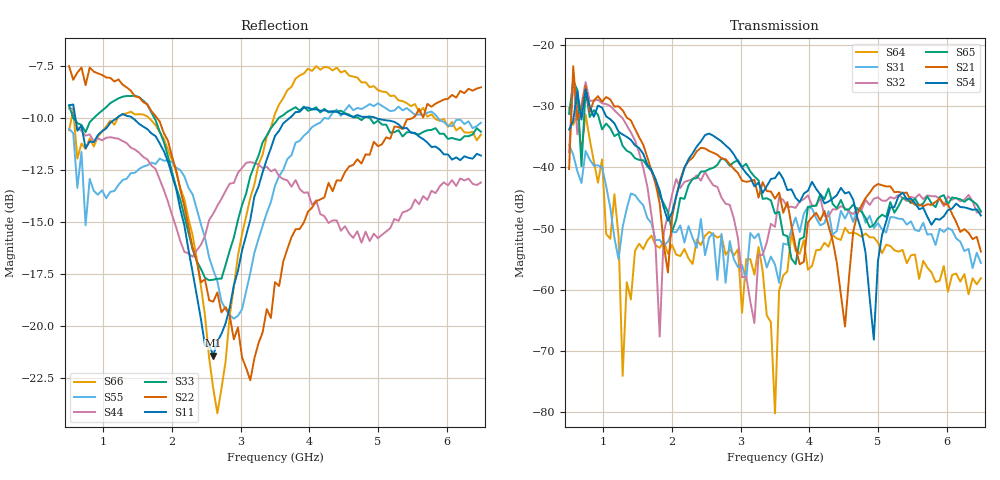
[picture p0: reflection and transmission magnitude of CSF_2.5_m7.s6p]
!Keysight Technologies,M9804A,MY58100912,A.14.10.03
!Date: Thursday, April 27, 2023 10:28:33
!Correction: S11(C  6-Port  )
!S12(C  6-Port  )
!S13(C  6-Port  )
!S14(C  6-Port  )
!S15(C  6-Port  )
!S16(C  6-Port  )
!S21(C  6-Port  )
!S22(C  6-Port  )
!S23(C  6-Port  )
!S24(C  6-Port  )
!S25(C  6-Port  )
!S26(C  6-Port  )
!S31(C  6-Port  )
!S32(C  6-Port  )
!S33(C  6-Port  )
!S34(C  6-Port  )
!S35(C  6-Port  )
!S36(C  6-Port  )
!S41(C  6-Port  )
!S42(C  6-Port  )
!S43(C  6-Port  )
!S44(C  6-Port  )
!S45(C  6-Port  )
!S46(C  6-Port  )
!S51(C  6-Port  )
!S52(C  6-Port  )
!S53(C  6-Port  )
!S54(C  6-Port  )
!S55(C  6-Port  )
!S56(C  6-Port  )
!S61(C  6-Port  )
!S62(C  6-Port  )
!S63(C  6-Port  )
!S64(C  6-Port  )
!S65(C  6-Port  )
!S66(C  6-Port  )
!S6P File: Measurement: :
# Hz S  RI  R 50
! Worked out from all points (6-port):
!   101 points, 500 MHz to 6.5 GHz, reference 50 ohm
!   strongest paths, dB at 500 MHz, 2 GHz, 3.5 GHz, 5 GHz, 6.5 GHz:
!     S54: -33.8, -47.4, -41.7, -55.3, -47.9
!     S21: -40.3, -48.1, -45.1, -42.7, -53.7
!     S65: -31.2, -50.5, -47.5, -48.3, -47.2
!     S32: -37.6, -44.5, -49.7, -44.9, -47.3
!     S31: -36.3, -50.6, -55.9, -49.1, -55.6
!     S64: -30.3, -52.7, -80.2, -52.3, -58.1
!   lowest |S11| = -21.4 dB at 2.6 GHz (marker M1), VSWR 1.19, Z = 42.5 + j2.15 ohm
!   |S11| at or under -10 dB: 591.2 MHz to 1.192 GHz (600.4 MHz wide, 67.4 % of centre); 1.426 GHz to 3.712 GHz (2.286 GHz wide, 89 % of centre); 4.973 GHz to end of sweep
